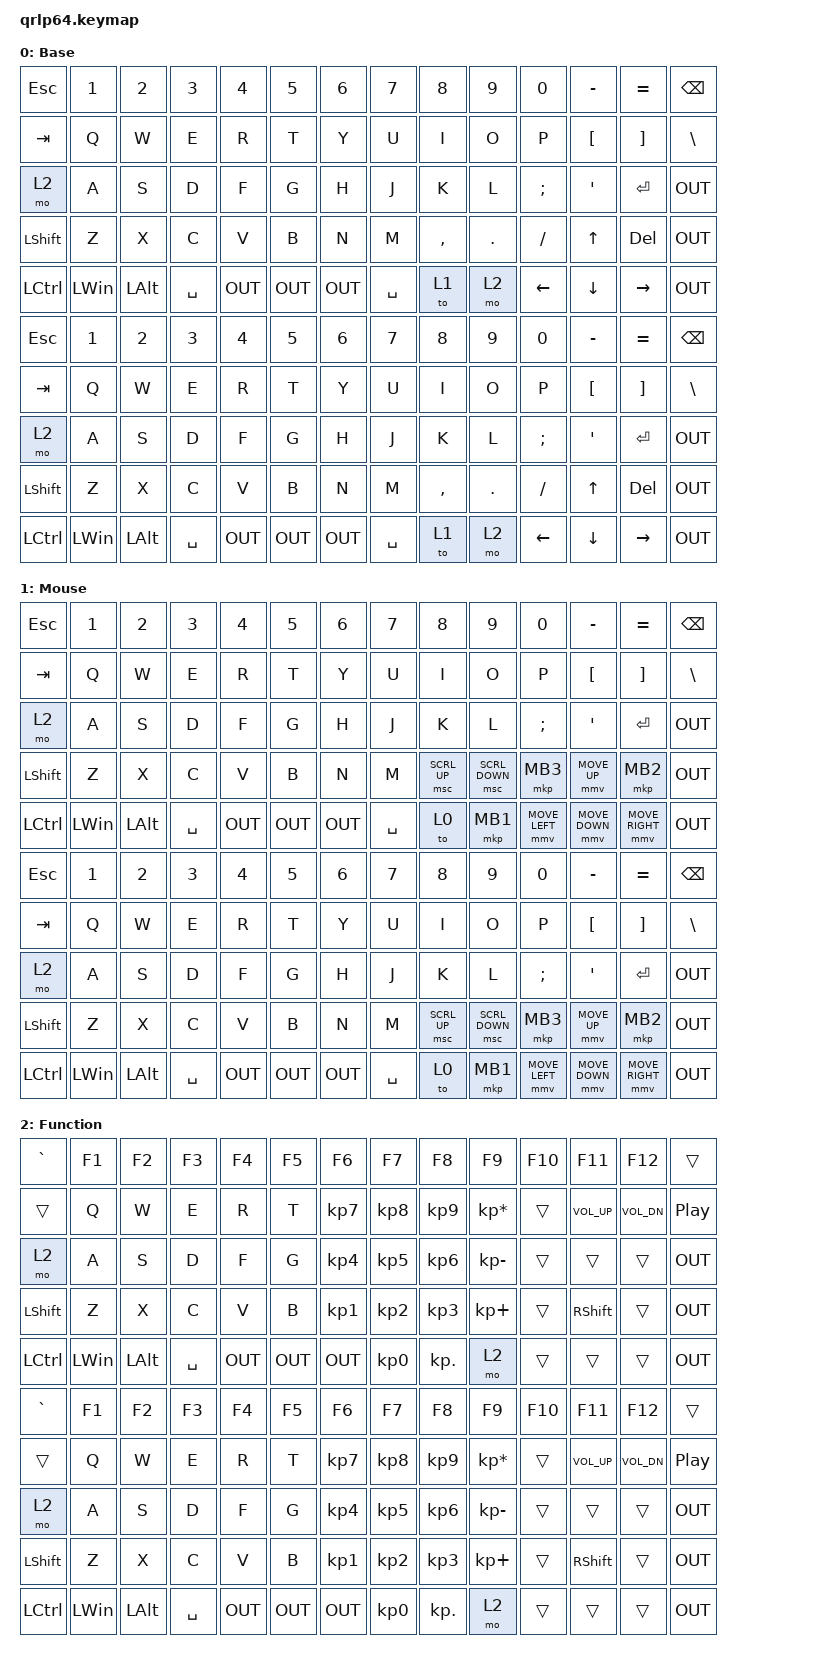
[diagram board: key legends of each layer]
#define DEFAULT 0
#include <behaviors.dtsi>
#include <dt-bindings/zmk/keys.h>
#include <dt-bindings/zmk/bt.h>
#include <dt-bindings/zmk/outputs.h>
#include <dt-bindings/zmk/ext_power.h>
#include <dt-bindings/zmk/mouse.h>

#define ZMK_POINTING_DEFAULT_MOVE_VAL 2000
#define ZMK_POINTING_DEFAULT_SCRL_VAL 20

&mmv {
    time-to-max-speed-ms = <1000>;
    trigger-period-ms = <7>;
};

&msc {
    time-to-max-speed-ms = <0>;
    trigger-period-ms = <7>;
};

/ {

	keymap {
		compatible = "zmk,keymap";
		default_layer {
			display-name = "Base";

			bindings = <
			&kp ESC     &kp N1      &kp N2     &kp N3    &kp N4    &kp N5                     &kp N6   &kp N7     &kp N8      &kp N9     &kp N0    &kp MINUS  &kp EQUAL  &kp BSPC
		    &kp TAB     &kp Q       &kp W      &kp E     &kp R     &kp T                      &kp Y    &kp U      &kp I       &kp O      &kp P     &kp LBKT   &kp RBKT   &kp BSLH
		    &mo 2       &kp A       &kp S      &kp D     &kp F     &kp G                      &kp H    &kp J      &kp K       &kp L      &kp SEMI  &kp SQT    &kp ENTER  &kp OUT
		    &kp LSHIFT  &kp Z       &kp X      &kp C     &kp V     &kp B                      &kp N    &kp M      &kp COMMA   &kp DOT    &kp FSLH  &kp UP     &kp DEL    &kp OUT
			&kp LCTRL   &kp LWIN    &kp LALT   &kp SPACE &kp OUT   &kp OUT                    &kp OUT  &kp SPACE  &to 1       &mo 2      &kp LEFT  &kp DOWN   &kp RIGHT  &kp OUT
			// --- qrsplit64 (positions 70-139)
			&kp ESC     &kp N1      &kp N2     &kp N3    &kp N4    &kp N5                     &kp N6   &kp N7     &kp N8      &kp N9     &kp N0    &kp MINUS  &kp EQUAL  &kp BSPC
		    &kp TAB     &kp Q       &kp W      &kp E     &kp R     &kp T                      &kp Y    &kp U      &kp I       &kp O      &kp P     &kp LBKT   &kp RBKT   &kp BSLH
		    &mo 2       &kp A       &kp S      &kp D     &kp F     &kp G                      &kp H    &kp J      &kp K       &kp L      &kp SEMI  &kp SQT    &kp ENTER  &kp OUT
		    &kp LSHIFT  &kp Z       &kp X      &kp C     &kp V     &kp B                      &kp N    &kp M      &kp COMMA   &kp DOT    &kp FSLH  &kp UP     &kp DEL    &kp OUT
			&kp LCTRL   &kp LWIN    &kp LALT   &kp SPACE &kp OUT   &kp OUT                    &kp OUT  &kp SPACE  &to 1       &mo 2      &kp LEFT  &kp DOWN   &kp RIGHT  &kp OUT
			>;
		};
        

        lower_layer {
            display-name = "Mouse";
            bindings = <
			&kp ESC     &kp N1      &kp N2     &kp N3    &kp N4    &kp N5                     &kp N6   &kp N7 &kp N8      &kp N9     &kp N0         &kp MINUS             &kp EQUAL        &kp BSPC
		    &kp TAB     &kp Q       &kp W      &kp E     &kp R     &kp T                      &kp Y    &kp U  &kp I       &kp O      &kp P          &kp LBKT              &kp RBKT         &kp BSLH
		    &mo 2       &kp A       &kp S      &kp D     &kp F     &kp G                      &kp H    &kp J  &kp K       &kp L      &kp SEMI       &kp SQT               &kp ENTER        &kp OUT
		    &kp LSHIFT  &kp Z       &kp X      &kp C     &kp V     &kp B                      &kp N    &kp M  &msc SCRL_UP   &msc SCRL_DOWN    &mkp MB3       &mmv MOVE_UP          &mkp MB2         &kp OUT
			&kp LCTRL   &kp LWIN    &kp LALT   &kp SPACE &kp OUT   &kp OUT                    &kp OUT  &kp SPACE  &to 0       &mkp MB1   &mmv MOVE_LEFT &mmv MOVE_DOWN   &mmv MOVE_RIGHT  &kp OUT
			// --- qrsplit64 (positions 70-139)
			&kp ESC     &kp N1      &kp N2     &kp N3    &kp N4    &kp N5                     &kp N6   &kp N7 &kp N8      &kp N9     &kp N0         &kp MINUS             &kp EQUAL        &kp BSPC
		    &kp TAB     &kp Q       &kp W      &kp E     &kp R     &kp T                      &kp Y    &kp U  &kp I       &kp O      &kp P          &kp LBKT              &kp RBKT         &kp BSLH
		    &mo 2       &kp A       &kp S      &kp D     &kp F     &kp G                      &kp H    &kp J  &kp K       &kp L      &kp SEMI       &kp SQT               &kp ENTER        &kp OUT
		    &kp LSHIFT  &kp Z       &kp X      &kp C     &kp V     &kp B                      &kp N    &kp M  &msc SCRL_UP   &msc SCRL_DOWN    &mkp MB3       &mmv MOVE_UP          &mkp MB2         &kp OUT
			&kp LCTRL   &kp LWIN    &kp LALT   &kp SPACE &kp OUT   &kp OUT                    &kp OUT  &kp SPACE  &to 0       &mkp MB1   &mmv MOVE_LEFT &mmv MOVE_DOWN   &mmv MOVE_RIGHT  &kp OUT
			>;
		};

		raise_layer {
            display-name = "Function";
            bindings = <
			&kp GRAVE       &kp F1      &kp F2     &kp F3    &kp F4    &kp F5                     &kp F6    &kp F7     &kp F8      &kp F9           &kp F10     &kp F11       &kp F12        &trans
		    &trans          &kp Q       &kp W      &kp E     &kp R     &kp T                      &kp KP_N7 &kp KP_N8  &kp KP_N9   &kp KP_MULTIPLY  &trans      &kp C_VOL_UP  &kp C_VOL_DN   &kp C_PP
		    &mo 2           &kp A       &kp S      &kp D     &kp F     &kp G                      &kp KP_N4 &kp KP_N5  &kp KP_N6   &kp KP_MINUS     &trans      &trans        &trans         &kp OUT
		    &kp LSHIFT      &kp Z       &kp X      &kp C     &kp V     &kp B                      &kp KP_N1 &kp KP_N2  &kp KP_N3   &kp KP_PLUS      &trans      &kp RSHIFT    &trans         &kp OUT
			&kp LCTRL       &kp LWIN    &kp LALT   &kp SPACE &kp OUT   &kp OUT                    &kp OUT   &kp KP_N0  &kp KP_DOT  &mo 2            &trans      &trans        &trans         &kp OUT
			// --- qrsplit64 (positions 70-139)
			&kp GRAVE       &kp F1      &kp F2     &kp F3    &kp F4    &kp F5                     &kp F6    &kp F7     &kp F8      &kp F9           &kp F10     &kp F11       &kp F12        &trans
		    &trans          &kp Q       &kp W      &kp E     &kp R     &kp T                      &kp KP_N7 &kp KP_N8  &kp KP_N9   &kp KP_MULTIPLY  &trans      &kp C_VOL_UP  &kp C_VOL_DN   &kp C_PP
		    &mo 2           &kp A       &kp S      &kp D     &kp F     &kp G                      &kp KP_N4 &kp KP_N5  &kp KP_N6   &kp KP_MINUS     &trans      &trans        &trans         &kp OUT
		    &kp LSHIFT      &kp Z       &kp X      &kp C     &kp V     &kp B                      &kp KP_N1 &kp KP_N2  &kp KP_N3   &kp KP_PLUS      &trans      &kp RSHIFT    &trans         &kp OUT
			&kp LCTRL       &kp LWIN    &kp LALT   &kp SPACE &kp OUT   &kp OUT                    &kp OUT   &kp KP_N0  &kp KP_DOT  &mo 2            &trans      &trans        &trans         &kp OUT
			>;
		};		
	};
};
